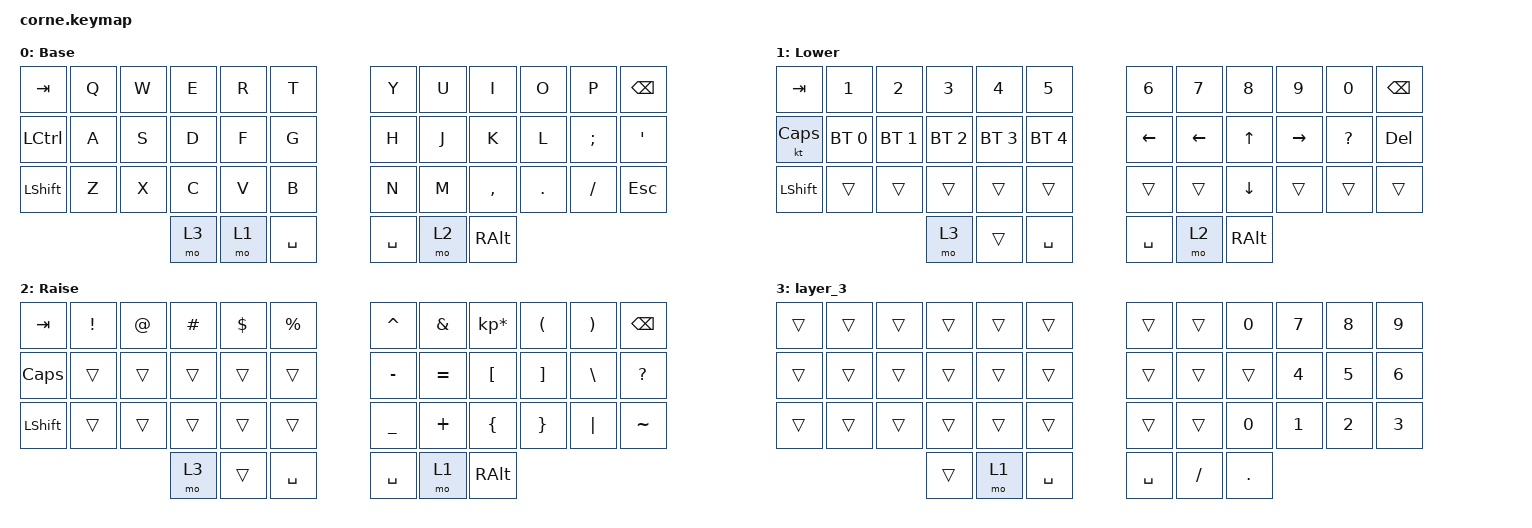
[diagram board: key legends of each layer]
/*
 * Copyright (c) 2020 The ZMK Contributors
 *
 * SPDX-License-Identifier: MIT
 */

#include <behaviors.dtsi>
#include <dt-bindings/zmk/bt.h>
#include <dt-bindings/zmk/keys.h>
#include <dt-bindings/zmk/keys.h>

/ {
    keymap {
        compatible = "zmk,keymap";

        default_layer {
            // -----------------------------------------------------------------------------------------
            // |  TAB |  Q  |  W  |  E  |  R  |  T  |   |  Y  |  U   |  I  |  O  |  P  | BKSP |
            // | CTRL |  A  |  S  |  D  |  F  |  G  |   |  H  |  J   |  K  |  L  |  ;  |  '   |
            // | SHFT |  Z  |  X  |  C  |  V  |  B  |   |  N  |  M   |  ,  |  .  |  /  | ESC  |
            //                    | GUI | LWR | SPC |   | ENT | RSE  | ALT |

            display-name = "Base";
            bindings = <
&kp TAB    &kp Q  &kp W  &kp E  &kp R  &kp T        &kp Y      &kp U  &kp I      &kp O    &kp P     &kp BSPC
&kp LCTRL  &kp A  &kp S  &kp D  &kp F  &kp G        &kp H      &kp J  &kp K      &kp L    &kp SEMI  &kp SQT
&kp LSHFT  &kp Z  &kp X  &kp C  &kp V  &kp B        &kp N      &kp M  &kp COMMA  &kp DOT  &kp FSLH  &kp ESC
                         &mo 3  &mo 1  &kp SPACE    &kp SPACE  &mo 2  &kp RALT
            >;
        };

        lower_layer {
            // -----------------------------------------------------------------------------------------
            // |  TAB |  1  |  2  |  3  |  4  |  5  |   |  6  |  7  |  8  |  9  |  0  | BKSP |
            // | BTCLR| BT1 | BT2 | BT3 | BT4 | BT5 |   | LFT | DWN |  UP | RGT |     |      |
            // | SHFT |     |     |     |     |     |   |     |     |     |     |     |      |
            //                    | GUI |     | SPC |   | ENT |     | ALT |

            display-name = "Lower";
            bindings = <
&kp TAB    &kp N1        &kp N2        &kp N3        &kp N4        &kp N5          &kp N6     &kp N7          &kp N8          &kp N9     &kp N0        &kp BSPC
&kt CAPS   &bt BT_SEL 0  &bt BT_SEL 1  &bt BT_SEL 2  &bt BT_SEL 3  &bt BT_SEL 4    &kp LEFT   &kp LEFT_ARROW  &kp UP          &kp RIGHT  &kp QUESTION  &kp DEL
&kp LSHFT  &trans        &trans        &trans        &trans        &trans          &trans     &trans          &kp DOWN_ARROW  &trans     &trans        &trans
                                       &mo 3         &trans        &kp SPACE       &kp SPACE  &mo 2           &kp RALT
            >;
        };

        raise_layer {
            // -----------------------------------------------------------------------------------------
            // |  TAB |  !  |  @  |  #  |  $  |  %  |   |  ^  |  &  |  *  |  (  |  )  | BKSP |
            // | CTRL |     |     |     |     |     |   |  -  |  =  |  [  |  ]  |  \  |  `   |
            // | SHFT |     |     |     |     |     |   |  _  |  +  |  {  |  }  | "|" |  ~   |
            //                    | GUI |     | SPC |   | ENT |     | ALT |

            display-name = "Raise";
            bindings = <
&kp TAB       &kp EXCL  &kp AT  &kp HASH  &kp DLLR  &kp PRCNT    &kp CARET  &kp AMPS   &kp KP_MULTIPLY  &kp LPAR  &kp RPAR  &kp BSPC
&kp CAPSLOCK  &trans    &trans  &trans    &trans    &trans       &kp MINUS  &kp EQUAL  &kp LBKT         &kp RBKT  &kp BSLH  &kp QUESTION
&kp LSHFT     &trans    &trans  &trans    &trans    &trans       &kp UNDER  &kp PLUS   &kp LBRC         &kp RBRC  &kp PIPE  &kp TILDE
                                &mo 3     &trans    &kp SPACE    &kp SPACE  &mo 1      &kp RALT
            >;
        };

        layer_3 {
            bindings = <
&trans  &trans  &trans  &trans  &trans  &trans       &trans     &trans     &kp N0      &kp N7        &kp N8        &kp N9
&trans  &trans  &trans  &trans  &trans  &trans       &trans     &trans     &trans      &kp NUMBER_4  &kp N5        &kp NUMBER_6
&trans  &trans  &trans  &trans  &trans  &trans       &trans     &trans     &kp N0      &kp NUMBER_1  &kp NUMBER_2  &kp NUMBER_3
                        &trans  &mo 1   &kp SPACE    &kp SPACE  &kp SLASH  &kp PERIOD
            >;
        };
    };
};
